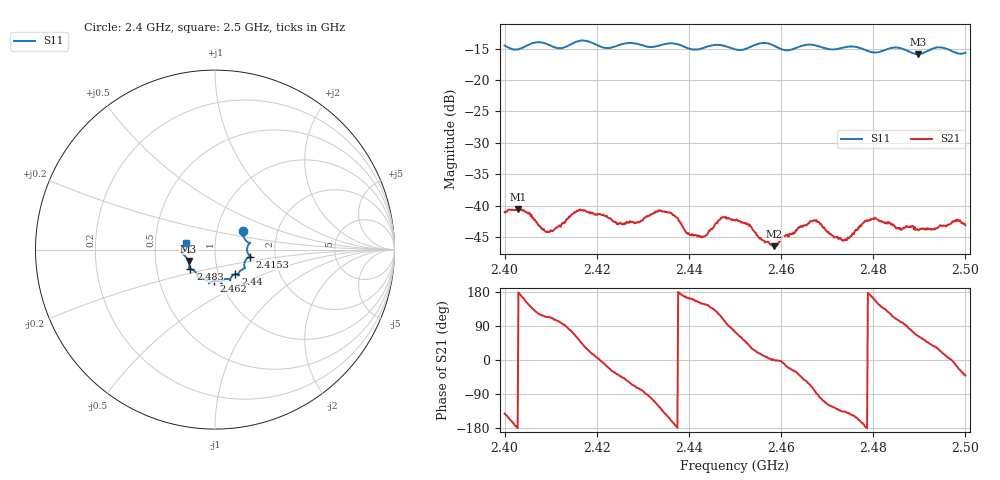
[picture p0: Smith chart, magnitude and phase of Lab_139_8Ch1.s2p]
# Hz S RI R 50
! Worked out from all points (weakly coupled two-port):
!   601 points, 2.4 GHz to 2.5 GHz, reference 50 ohm
!   highest |S21| = -40.60 dB at 2.4028 GHz (marker M1); lowest = -46.5 dB at 2.4585 GHz (marker M2)
!   lowest |S11| = -15.9 dB at 2.4897 GHz (marker M3), VSWR 1.38, Z = 36.9 - j4.83 ohm
!   |S11| at or under -10 dB: start of sweep to end of sweep
!   S12 and S22 are empty: the file has one direction only
!   S11 on the Smith chart (normalised r, x): 2.4 GHz: 1.33, +0.29; 2.4153 GHz: 1.48, -0.12; 2.44 GHz: 1.21, -0.34; 2.462 GHz: 0.93, -0.33; 2.483 GHz: 0.74, -0.17; 2.5 GHz: 0.72, +0.06
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2.4e9  0.1553 0.1064  -0.00693 -0.00553  0 0  0 0
2.402833e9  0.1636 0.062  -0.00933 -6.72e-06  0 0  0 0
2.409333e9  0.1898 0.0316  -0.00245 0.00574  0 0  0 0
2.415333e9  0.1962 -0.039  0.00385 0.00792  0 0  0 0
2.416667e9  0.2015 -0.043  0.00648 0.00648  0 0  0 0
2.425833e9  0.1666 -0.0999  0.00488 -0.00528  0 0  0 0
2.433333e9  0.1308 -0.1338  -0.00454 -0.00783  0 0  0 0
2.437167e9  0.1315 -0.1427  -0.00806 -0.000799  0 0  0 0
2.44e9  0.1141 -0.1365  -0.0057 0.00175  0 0  0 0
2.443333e9  0.0881 -0.1579  -0.00481 0.00303  0 0  0 0
2.447e9  0.0845 -0.1693  -0.00325 0.00731  0 0  0 0
2.45e9  0.0649 -0.1631  0.0021 0.0073  0 0  0 0
2.4585e9  0.0342 -0.1843  0.00474 -1.88e-05  0 0  0 0
2.462e9  -0.00533 -0.1735  0.00545 -0.00227  0 0  0 0
2.466667e9  -0.0343 -0.1876  0.0024 -0.00713  0 0  0 0
2.473667e9  -0.0854 -0.1604  -0.00378 -0.00371  0 0  0 0
2.478667e9  -0.1017 -0.1374  -0.00763 -4.07e-05  0 0  0 0
2.483e9  -0.1375 -0.1093  -0.00459 0.00573  0 0  0 0
2.483333e9  -0.14 -0.1091  -0.00434 0.00597  0 0  0 0
2.489667e9  -0.1473 -0.0638  0.00279 0.00578  0 0  0 0
2.494167e9  -0.1805 -0.0224  0.00589 0.00326  0 0  0 0
2.5e9  -0.1598 0.0392  0.00525 -0.00455  0 0  0 0
